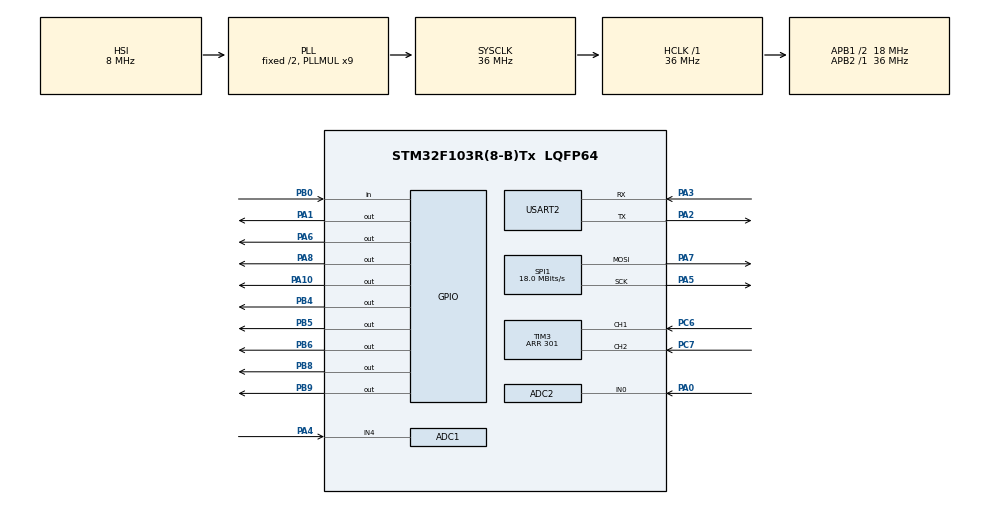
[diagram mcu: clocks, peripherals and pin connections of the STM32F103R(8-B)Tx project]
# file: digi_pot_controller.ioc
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ADC1.Channel-5\#ChannelRegularConversion=ADC_CHANNEL_4
ADC1.ContinuousConvMode=ENABLE
ADC1.NbrOfConversion=1
ADC1.NbrOfConversionFlag=1
ADC1.master=1
ADC2.Channel-0\#ChannelRegularConversion=ADC_CHANNEL_0
ADC2.ContinuousConvMode=ENABLE
ADC2.NbrOfConversionFlag=1
ADC2.Rank-0\#ChannelRegularConversion=1
ADC2.SamplingTime-0\#ChannelRegularConversion=ADC_SAMPLETIME_1CYCLE_5
Mcu.Family=STM32F1
Mcu.Name=STM32F103R(8-B)Tx
Mcu.Package=LQFP64
NVIC.PriorityGroup=NVIC_PRIORITYGROUP_4
NVIC.USART2_IRQn=true\:0\:0\:false\:false\:true\:true\:true\:true
PA0-WKUP.Signal=ADCx_IN0
PA1.Signal=GPIO_Output
PA10.Signal=GPIO_Output
PA2.Mode=Asynchronous
PA2.Signal=USART2_TX
PA3.Mode=Asynchronous
PA3.Signal=USART2_RX
PA4.Signal=ADCx_IN4
PA5.Mode=TX_Only_Simplex_Unidirect_Master
PA5.Signal=SPI1_SCK
PA6.Signal=GPIO_Output
PA7.Mode=TX_Only_Simplex_Unidirect_Master
PA7.Signal=SPI1_MOSI
PA8.Signal=GPIO_Output
PB0.GPIO_PuPd=GPIO_PULLDOWN
PB0.Signal=GPIO_Input
PB4.Signal=GPIO_Output
PB5.Signal=GPIO_Output
PB6.Signal=GPIO_Output
PB8.GPIO_PuPd=GPIO_NOPULL
PB8.Signal=GPIO_Output
PB9.Signal=GPIO_Output
PC6.GPIO_PuPd=GPIO_PULLUP
PC6.Signal=S_TIM3_CH1
PC7.GPIO_PuPd=GPIO_PULLUP
PC7.Signal=S_TIM3_CH2
ProjectManager.HeapSize=0x200
ProjectManager.StackSize=0x400
ProjectManager.TargetToolchain=STM32CubeIDE
RCC.ADCPresc=RCC_ADCPCLK2_DIV6
RCC.AHBFreq_Value=36000000
RCC.APB1CLKDivider=RCC_HCLK_DIV2
RCC.APB1Freq_Value=18000000
RCC.APB1TimFreq_Value=36000000
RCC.APB2Freq_Value=36000000
RCC.APB2TimFreq_Value=36000000
RCC.HCLKFreq_Value=36000000
RCC.PLLMUL=RCC_PLL_MUL9
RCC.RTCClockSelection=RCC_RTCCLKSOURCE_LSE
RCC.SYSCLKFreq_VALUE=36000000
RCC.SYSCLKSource=RCC_SYSCLKSOURCE_PLLCLK
RCC.USBFreq_Value=36000000
SH.ADCx_IN0.0=ADC2_IN0,IN0
SH.ADCx_IN4.0=ADC1_IN4,IN4
SH.S_TIM3_CH1.0=TIM3_CH1,Encoder_Interface
SH.S_TIM3_CH2.0=TIM3_CH2,Encoder_Interface
SPI1.BaudRatePrescaler=SPI_BAUDRATEPRESCALER_2
SPI1.CalculateBaudRate=18.0 MBits/s
SPI1.Direction=SPI_DIRECTION_2LINES
SPI1.Mode=SPI_MODE_MASTER
SPI1.VirtualType=VM_MASTER
TIM3.EncoderMode=TIM_ENCODERMODE_TI1
TIM3.Period=301
USART2.VirtualMode=VM_ASYNC
VP_SYS_VS_ND.Mode=No_Debug
board=NUCLEO-F103RB

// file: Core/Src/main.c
/* USER CODE BEGIN Header */
/**
  ******************************************************************************
  * @file           : main.c
  * @brief          : Main program body
  ******************************************************************************
  * @attention
  *
  * Copyright (c) 2024 STMicroelectronics.
  * All rights reserved.
  *
  * This software is licensed under terms that can be found in the LICENSE file
  * in the root directory of this software component.
  * If no LICENSE file comes with this software, it is provided AS-IS.
  *
  ******************************************************************************
  */
/* USER CODE END Header */
#include "main.h"

/* USER CODE BEGIN Includes */
#include "lcd.h"
#include <stdio.h>
/* USER CODE END Includes */

ADC_HandleTypeDef hadc1;
ADC_HandleTypeDef hadc2;

SPI_HandleTypeDef hspi1;

TIM_HandleTypeDef htim3;

UART_HandleTypeDef huart2;

/* USER CODE BEGIN PV */
uint8_t  rx_indx, rx_data[6], rx_buffer[100], transfer_cplt, val_f=0, wr_f=0;
/* USER CODE END PV */

void SystemClock_Config(void);
static void MX_GPIO_Init(void);
static void MX_ADC1_Init(void);
static void MX_SPI1_Init(void);
static void MX_TIM3_Init(void);
static void MX_USART2_UART_Init(void);
static void MX_ADC2_Init(void);

int main(void)
{

	/* MCU Configuration--------------------------------------------------------*/

	/* Reset of all peripherals, Initializes the Flash interface and the Systick. */
	HAL_Init();

	/* Configure the system clock */
	SystemClock_Config();

	/* Initialize all configured peripherals */
	MX_GPIO_Init();
	MX_ADC1_Init();
	MX_SPI1_Init();
	MX_TIM3_Init();
	MX_USART2_UART_Init();
	MX_ADC2_Init();

	Lcd_PortType ports[] = { GPIOA, GPIOB, GPIOA, GPIOA };
	Lcd_PinType pins[] = {GPIO_PIN_1, GPIO_PIN_6, GPIO_PIN_8, GPIO_PIN_6};
	Lcd_HandleTypeDef lcd;

	lcd = Lcd_create(ports, pins, GPIOB, GPIO_PIN_5, GPIOB, GPIO_PIN_4, LCD_4_BIT_MODE);
	Lcd_clear(&lcd);
	Lcd_cursor(&lcd, 0,0);

	uint8_t var1=0x33, var2=0xFF; // Two 8 bit variables to send SPI for DAC, Initial 4 bits are always fixed, make sure to look at datasheet
	uint16_t current_v=0,adc_val=0,counter=0, voltage=0;
	uint32_t Samples=0;
	float current_reading, current_set=0, p_err=0, current_avg=0, c=0, current_sum=0;
	uint8_t var[2]={var1,var2}, count2=0, f=0, cv_flag=0, kp=21;

	HAL_GPIO_WritePin(GPIOB, GPIO_PIN_8, GPIO_PIN_RESET); // Initialize LED to OFF

	HAL_TIM_Encoder_Start_IT(&htim3, TIM_CHANNEL_ALL);
	HAL_UART_Receive_IT(&huart2, rx_data, 1);

	while (1)
	{

		Lcd_cursor(&lcd, 0,0);
		Lcd_string(&lcd, "RC:");
		// Rotary turn
		counter=TIM3->CNT; // Rotary encoder is just counter in encoder mode for turns, check rotary data sheet for better understanding

		Lcd_cursor(&lcd, 0,3);
		Lcd_float(&lcd, 1.0*counter/100);

		// Detect rotary press
		if(HAL_GPIO_ReadPin(GPIOB, GPIO_PIN_0) == GPIO_PIN_SET){
			current_set=0.01*counter;
			//Average resistance is different for each current range
			if (current_set<1.1)
				current_v=4095*12*current_set/500;
			else if (current_set<2.1)
				current_v=4095*11*current_set/500;
			else
				current_v=4095*10*current_set/500;
		}

		Lcd_cursor(&lcd, 0,8);
		Lcd_string(&lcd, "SC:");
		Lcd_cursor(&lcd, 0,11);
		Lcd_float(&lcd, current_set);

		// Reading of potential for current from Hall Based sensor
		Samples=0;
		for (int x = 0; x < 150; x++){ //Get 150 samples
			HAL_ADC_Start(&hadc1);
			HAL_ADC_PollForConversion(&hadc1,20);
			adc_val = HAL_ADC_GetValue(&hadc1);    //Read current sensor values
			HAL_ADC_Stop(&hadc1);
			Samples = Samples + adc_val;  //Add samples together
		}
		adc_val=Samples/150;//Taking Average of Samples

		if (current_set<1.5)
			current_reading=(-adc_val*3.42/4036+1.669)/0.084; // Equation is based on sensitivity and trial & error
		else
			current_reading=(-adc_val*3.0/4095+1.442)/0.084;

		if (current_reading<0){
			current_reading=0;
		}

		// PD controller for both CC and CV
		if (cv_flag==1){
			if ((voltage>1700)|| (voltage<1600))
				kp=10;
			else
				kp=1;

			if ((voltage>1645))
				current_v=current_v+kp;

			else if ((voltage<1645)){
				if (current_v > kp)
					current_v=current_v-kp;
			}
		}
		else{
			if (current_reading-current_set > 0.05){
				if (current_v > 3)
					current_v=current_v-3+0*(current_reading-current_set -p_err);
			}
			else if(current_reading-current_set < 0.05){

				current_v=current_v+3+0*(current_reading-current_set -p_err);
			}
			p_err=current_reading-current_set;
		}

		// Transition condition (0.1 A is the accuracy)
		Lcd_cursor(&lcd, 1,10);
		if (((current_reading+0.1>current_set) && ((voltage>1750) || ((voltage<10) ||current_set<0.08))) || ((f==0) && (count2<41)) )
		{ //CC
			HAL_GPIO_WritePin(GPIOB, GPIO_PIN_8, GPIO_PIN_RESET);

			Lcd_string(&lcd, "CC");
			count2++;
			f=0;
			if (cv_flag==1){
				if (current_set<1.1)
					current_v=4095*12*current_set/500;
				else if (current_set<2.1)
					current_v=4095*11*current_set/500;
				else
					current_v=4095*10*current_set/500;
				cv_flag=0;
			}

		}
		else if(count2==0 || count2>40)
		{//CV

			HAL_GPIO_WritePin(GPIOB, GPIO_PIN_8, GPIO_PIN_SET);

			Lcd_string(&lcd, "CV");
			count2=0;
			f=1;
			cv_flag=1;
		}

		//Measuring potential of lower end of load scaled to 3.3V for ADC, upper end is always 9V
		Samples=0;
		for (int x = 0; x < 150; x++){ //Get 150 samples
			HAL_ADC_Start(&hadc2);
			HAL_ADC_PollForConversion(&hadc2,20);
			adc_val = HAL_ADC_GetValue(&hadc2);    //Read potential values
			HAL_ADC_Stop(&hadc2);
			Samples = Samples + adc_val;  //Add samples together
		}
		adc_val=Samples/150;//Taking Average of Samples
		voltage=adc_val;
		if (current_set==0.00)
			current_v=0;
		if (current_v > 320) // Value of potential (in digital) above which no value would ever be required for any kind of load, thus limiting it to prevent any garbage value
			current_v=320;

		// Transmission to DAC using SPI
		var2=current_v&0xFF;
		var1=current_v/256;

		var1=var1&0x0F;
		var1=var1|0x30;
		var[0]=var1;
		var[1]=var2;
		Lcd_cursor(&lcd, 1,0);
		Lcd_string(&lcd, "AC:");
		Lcd_cursor(&lcd, 1,4);

		// Displaying avg current in some cases to prevent fluctuations
		current_sum=current_reading+current_sum;
		if (c==9){
			current_avg=current_sum/10;
			c=0;
			current_sum=0;
		}
		if (current_avg==0)
			current_avg=current_reading;
		c++;

		if ((current_avg>current_set+0.1) || (current_avg+0.1<current_set) || (!current_reading))
			Lcd_float(&lcd, current_reading);
		else
			Lcd_float(&lcd, current_avg);

		// Transmiting to DAC
		HAL_GPIO_WritePin(GPIOA, GPIO_PIN_10, GPIO_PIN_SET); //LDAC_bar is set while transmission
		HAL_GPIO_WritePin(GPIOB, GPIO_PIN_9, GPIO_PIN_RESET); //CS_bar is transitioned to 0 just before transmission starts (falling edge)
		HAL_SPI_Transmit(&hspi1, var, 2, 100); //Higher byte with 1st nibble as the config bits, 2nd one is the data

		HAL_GPIO_WritePin(GPIOB, GPIO_PIN_9, GPIO_PIN_SET); //CS_bar rising edge to signify end of transmission of data
		HAL_GPIO_WritePin(GPIOA, GPIO_PIN_10, GPIO_PIN_RESET); // LDAC_bar falling edge when not transmitting

		// UART (There is a function near the end of the, RxCplt check that out for more details)
		uint8_t Test[]={48,46,48,48, '\n', '\r'}; //Data to send
		if (val_f==1){
			// Converting numbers to ASCII
			Test[0]=48+current_reading/10*10;
			Test[2]=(10*current_reading);
			Test[2]=48+Test[2]%10;
			Test[3]=100*current_reading;
			Test[3]=48+Test[3]%10;
			HAL_UART_Transmit(&huart2,Test,sizeof(Test),10);
		}

		if ((wr_f==1) && (transfer_cplt==1)){
			// ASCII to numbers
			float c_set_dummy;
			c_set_dummy=(rx_buffer[0]-48)*100+(rx_buffer[2]-48)*10+(rx_buffer[3]-48);
			transfer_cplt=0;
			if ((rx_buffer[0]<52) && (rx_buffer[0]>47) && (rx_buffer[2]>47) && (rx_buffer[3]>47)){
				current_set=c_set_dummy;

				current_set=0.01*(current_set);

				if (current_set<1.1)
					current_v=4095*12*current_set/500;
				else if (current_set<2.1)
					current_v=4095*11*current_set/500;
				else
					current_v=4095*10*current_set/500;
			}

		}

	}
  /* USER CODE END 3 */
}

void SystemClock_Config(void)
{
  RCC_OscInitTypeDef RCC_OscInitStruct = {0};
  RCC_ClkInitTypeDef RCC_ClkInitStruct = {0};
  RCC_PeriphCLKInitTypeDef PeriphClkInit = {0};

  /** Initializes the RCC Oscillators according to the specified parameters
  * in the RCC_OscInitTypeDef structure.
  */
  RCC_OscInitStruct.OscillatorType = RCC_OSCILLATORTYPE_HSI;
  RCC_OscInitStruct.HSIState = RCC_HSI_ON;
  RCC_OscInitStruct.HSICalibrationValue = RCC_HSICALIBRATION_DEFAULT;
  RCC_OscInitStruct.PLL.PLLState = RCC_PLL_ON;
  RCC_OscInitStruct.PLL.PLLSource = RCC_PLLSOURCE_HSI_DIV2;
  RCC_OscInitStruct.PLL.PLLMUL = RCC_PLL_MUL9;
  if (HAL_RCC_OscConfig(&RCC_OscInitStruct) != HAL_OK)
  {
    Error_Handler();
  }

  /** Initializes the CPU, AHB and APB buses clocks
  */
  RCC_ClkInitStruct.ClockType = RCC_CLOCKTYPE_HCLK|RCC_CLOCKTYPE_SYSCLK
                              |RCC_CLOCKTYPE_PCLK1|RCC_CLOCKTYPE_PCLK2;
  RCC_ClkInitStruct.SYSCLKSource = RCC_SYSCLKSOURCE_PLLCLK;
  RCC_ClkInitStruct.AHBCLKDivider = RCC_SYSCLK_DIV1;
  RCC_ClkInitStruct.APB1CLKDivider = RCC_HCLK_DIV2;
  RCC_ClkInitStruct.APB2CLKDivider = RCC_HCLK_DIV1;

  if (HAL_RCC_ClockConfig(&RCC_ClkInitStruct, FLASH_LATENCY_1) != HAL_OK)
  {
    Error_Handler();
  }
  PeriphClkInit.PeriphClockSelection = RCC_PERIPHCLK_ADC;
  PeriphClkInit.AdcClockSelection = RCC_ADCPCLK2_DIV6;
  if (HAL_RCCEx_PeriphCLKConfig(&PeriphClkInit) != HAL_OK)
  {
    Error_Handler();
  }
}

static void MX_ADC1_Init(void)
{

  ADC_ChannelConfTypeDef sConfig = {0};

  /** Common config
  */
  hadc1.Instance = ADC1;
  hadc1.Init.ScanConvMode = ADC_SCAN_DISABLE;
  hadc1.Init.ContinuousConvMode = ENABLE;
  hadc1.Init.DiscontinuousConvMode = DISABLE;
  hadc1.Init.ExternalTrigConv = ADC_SOFTWARE_START;
  hadc1.Init.DataAlign = ADC_DATAALIGN_RIGHT;
  hadc1.Init.NbrOfConversion = 1;
  if (HAL_ADC_Init(&hadc1) != HAL_OK)
  {
    Error_Handler();
  }

  /** Configure Regular Channel
  */
  sConfig.Channel = ADC_CHANNEL_4;
  sConfig.Rank = ADC_REGULAR_RANK_1;
  sConfig.SamplingTime = ADC_SAMPLETIME_1CYCLE_5;
  if (HAL_ADC_ConfigChannel(&hadc1, &sConfig) != HAL_OK)
  {
    Error_Handler();
  }

}

static void MX_ADC2_Init(void)
{

  ADC_ChannelConfTypeDef sConfig = {0};

  /** Common config
  */
  hadc2.Instance = ADC2;
  hadc2.Init.ScanConvMode = ADC_SCAN_DISABLE;
  hadc2.Init.ContinuousConvMode = ENABLE;
  hadc2.Init.DiscontinuousConvMode = DISABLE;
  hadc2.Init.ExternalTrigConv = ADC_SOFTWARE_START;
  hadc2.Init.DataAlign = ADC_DATAALIGN_RIGHT;
  hadc2.Init.NbrOfConversion = 1;
  if (HAL_ADC_Init(&hadc2) != HAL_OK)
  {
    Error_Handler();
  }

  /** Configure Regular Channel
  */
  sConfig.Channel = ADC_CHANNEL_0;
  sConfig.Rank = ADC_REGULAR_RANK_1;
  sConfig.SamplingTime = ADC_SAMPLETIME_1CYCLE_5;
  if (HAL_ADC_ConfigChannel(&hadc2, &sConfig) != HAL_OK)
  {
    Error_Handler();
  }

}

static void MX_SPI1_Init(void)
{

  /* SPI1 parameter configuration*/
  hspi1.Instance = SPI1;
  hspi1.Init.Mode = SPI_MODE_MASTER;
  hspi1.Init.Direction = SPI_DIRECTION_2LINES;
  hspi1.Init.DataSize = SPI_DATASIZE_8BIT;
  hspi1.Init.CLKPolarity = SPI_POLARITY_LOW;
  hspi1.Init.CLKPhase = SPI_PHASE_1EDGE;
  hspi1.Init.NSS = SPI_NSS_SOFT;
  hspi1.Init.BaudRatePrescaler = SPI_BAUDRATEPRESCALER_2;
  hspi1.Init.FirstBit = SPI_FIRSTBIT_MSB;
  hspi1.Init.TIMode = SPI_TIMODE_DISABLE;
  hspi1.Init.CRCCalculation = SPI_CRCCALCULATION_DISABLE;
  hspi1.Init.CRCPolynomial = 10;
  if (HAL_SPI_Init(&hspi1) != HAL_OK)
  {
    Error_Handler();
  }

}

static void MX_TIM3_Init(void)
{

  TIM_Encoder_InitTypeDef sConfig = {0};
  TIM_MasterConfigTypeDef sMasterConfig = {0};

  htim3.Instance = TIM3;
  htim3.Init.Prescaler = 0;
  htim3.Init.CounterMode = TIM_COUNTERMODE_UP;
  htim3.Init.Period = 301;
  htim3.Init.ClockDivision = TIM_CLOCKDIVISION_DIV1;
  htim3.Init.AutoReloadPreload = TIM_AUTORELOAD_PRELOAD_DISABLE;
  sConfig.EncoderMode = TIM_ENCODERMODE_TI1;
  sConfig.IC1Polarity = TIM_ICPOLARITY_RISING;
  sConfig.IC1Selection = TIM_ICSELECTION_DIRECTTI;
  sConfig.IC1Prescaler = TIM_ICPSC_DIV1;
  sConfig.IC1Filter = 0;
  sConfig.IC2Polarity = TIM_ICPOLARITY_RISING;
  sConfig.IC2Selection = TIM_ICSELECTION_DIRECTTI;
  sConfig.IC2Prescaler = TIM_ICPSC_DIV1;
  sConfig.IC2Filter = 0;
  if (HAL_TIM_Encoder_Init(&htim3, &sConfig) != HAL_OK)
  {
    Error_Handler();
  }
  sMasterConfig.MasterOutputTrigger = TIM_TRGO_RESET;
  sMasterConfig.MasterSlaveMode = TIM_MASTERSLAVEMODE_DISABLE;
  if (HAL_TIMEx_MasterConfigSynchronization(&htim3, &sMasterConfig) != HAL_OK)
  {
    Error_Handler();
  }

}

static void MX_USART2_UART_Init(void)
{

  huart2.Instance = USART2;
  huart2.Init.BaudRate = 115200;
  huart2.Init.WordLength = UART_WORDLENGTH_8B;
  huart2.Init.StopBits = UART_STOPBITS_1;
  huart2.Init.Parity = UART_PARITY_NONE;
  huart2.Init.Mode = UART_MODE_TX_RX;
  huart2.Init.HwFlowCtl = UART_HWCONTROL_NONE;
  huart2.Init.OverSampling = UART_OVERSAMPLING_16;
  if (HAL_UART_Init(&huart2) != HAL_OK)
  {
    Error_Handler();
  }

}

static void MX_GPIO_Init(void)
{
  GPIO_InitTypeDef GPIO_InitStruct = {0};

  /* GPIO Ports Clock Enable */
  __HAL_RCC_GPIOA_CLK_ENABLE();
  __HAL_RCC_GPIOB_CLK_ENABLE();
  __HAL_RCC_GPIOC_CLK_ENABLE();

  /*Configure GPIO pin Output Level */
  HAL_GPIO_WritePin(GPIOA, GPIO_PIN_1|GPIO_PIN_6|GPIO_PIN_8|GPIO_PIN_10, GPIO_PIN_RESET);

  /*Configure GPIO pin Output Level */
  HAL_GPIO_WritePin(GPIOB, GPIO_PIN_4|GPIO_PIN_5|GPIO_PIN_6|GPIO_PIN_8
                          |GPIO_PIN_9, GPIO_PIN_RESET);

  /*Configure GPIO pins : PA1 PA6 PA8 PA10 */
  GPIO_InitStruct.Pin = GPIO_PIN_1|GPIO_PIN_6|GPIO_PIN_8|GPIO_PIN_10;
  GPIO_InitStruct.Mode = GPIO_MODE_OUTPUT_PP;
  GPIO_InitStruct.Pull = GPIO_NOPULL;
  GPIO_InitStruct.Speed = GPIO_SPEED_FREQ_LOW;
  HAL_GPIO_Init(GPIOA, &GPIO_InitStruct);

  /*Configure GPIO pin : PB0 */
  GPIO_InitStruct.Pin = GPIO_PIN_0;
  GPIO_InitStruct.Mode = GPIO_MODE_INPUT;
  GPIO_InitStruct.Pull = GPIO_PULLDOWN;
  HAL_GPIO_Init(GPIOB, &GPIO_InitStruct);

  /*Configure GPIO pins : PB4 PB5 PB6 PB8
                           PB9 */
  GPIO_InitStruct.Pin = GPIO_PIN_4|GPIO_PIN_5|GPIO_PIN_6|GPIO_PIN_8
                          |GPIO_PIN_9;
  GPIO_InitStruct.Mode = GPIO_MODE_OUTPUT_PP;
  GPIO_InitStruct.Pull = GPIO_NOPULL;
  GPIO_InitStruct.Speed = GPIO_SPEED_FREQ_LOW;
  HAL_GPIO_Init(GPIOB, &GPIO_InitStruct);

}

/* USER CODE BEGIN 4 */
void HAL_UART_RxCpltCallback(UART_HandleTypeDef *huart){
	HAL_UART_Receive_IT(&huart2, rx_data, 1);
//	HAL_UART_Transmit(&huart2, rx_data, 6, 100);
	if (rx_indx==0){
		uint8_t i=0;
		for (i=0; i<100; i++){
			rx_buffer[i]=0;
		}
	}

	if (rx_data[0] != 13){ // 13 is newline character (\r)
		rx_buffer[rx_indx++]= rx_data[0];
	}
	else{
		rx_indx=0;
		transfer_cplt=1;
		HAL_UART_Transmit(&huart2, "\r\n", 2, 100);
		if (!strcmp(rx_buffer, "read")){
			val_f=1;
		}
		else if (!strcmp(rx_buffer, "stop read")){
			val_f=0;
		}
		else if (!strcmp(rx_buffer, "write")){
			wr_f=1;
			uint8_t i=0;
			for (i=0; i<100; i++){
				rx_buffer[i]=0;
			}
			// making it 0.00 when write was typed to prevent setting ascii of "write" as the current
			rx_buffer[0]=48;
			rx_buffer[1]=46;
			rx_buffer[2]=48;
			rx_buffer[3]=48;

		}
		else if (!strcmp(rx_buffer, "stop write")){
			wr_f=0;
		}
	}

}
/* USER CODE END 4 */

void Error_Handler(void)
{
  __disable_irq();
  while (1)
  {
  }
}

#ifdef  USE_FULL_ASSERT
/**
  * @brief  Reports the name of the source file and the source line number
  *         where the assert_param error has occurred.
  * @param  file: pointer to the source file name
  * @param  line: assert_param error line source number
  * @retval None
  */
void assert_failed(uint8_t *file, uint32_t line)
{
  /* USER CODE BEGIN 6 */
  /* User can add his own implementation to report the file name and line number,
     ex: printf
     ("Wrong parameters value: file %s on line %d\r\n", file, line) */
  /* USER CODE END 6 */
}
#endif /* USE_FULL_ASSERT */
